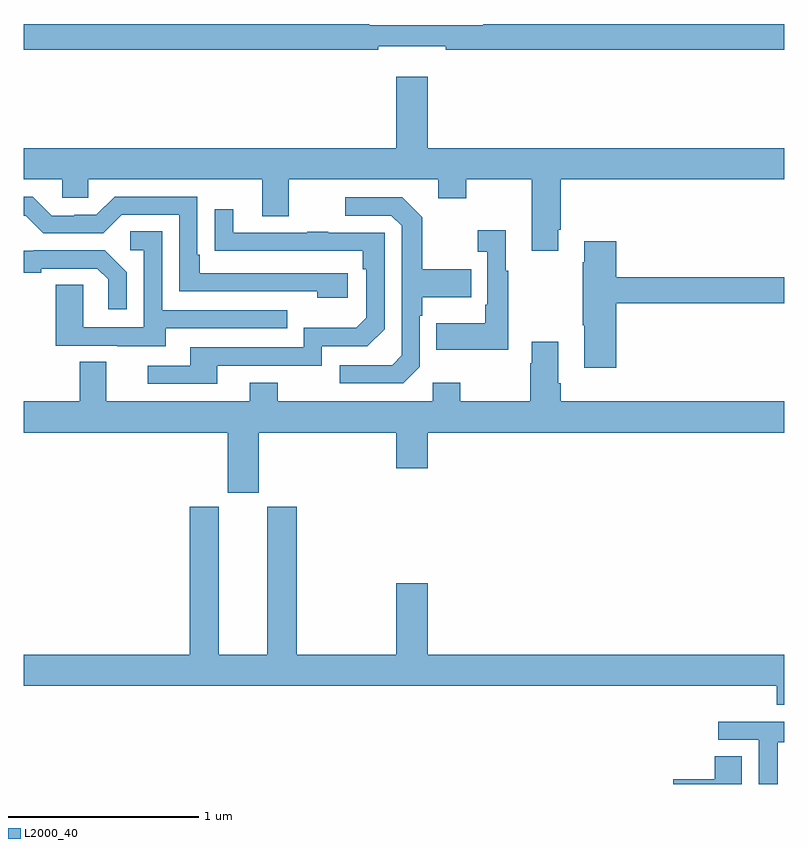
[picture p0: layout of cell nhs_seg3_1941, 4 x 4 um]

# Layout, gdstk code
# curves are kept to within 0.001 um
import gdstk
lib = gdstk.Library(unit=1e-6, precision=1e-09)
def P(c, l, *ps):  # polygons
    for p in ps: c.add(gdstk.Polygon(p, *l))
L2000_40 = (2000, 40)

nhs_seg3_1941 = lib.new_cell('nhs_seg3_1941')
P(nhs_seg3_1941, L2000_40, [(212.864,704.279),(213.22,704.279),(213.22,704.26),(215,704.26),(215,704.396),(213.418,704.396),(213.418,704.389),(212.818,704.389),(212.818,704.396),(211,704.396),(211,704.26),(212.864,704.26)],
  [(211,703.58),(211.203,703.58),(211.203,703.482),(211.341,703.482),(211.341,703.58),(212.255,703.58),(212.255,703.386),(212.395,703.386),(212.395,703.58),(213.179,703.58),(213.179,703.481),(213.327,703.481),(213.327,703.58),(213.671,703.58),(213.671,703.203),(213.811,703.203),(213.811,703.315),(213.824,703.315),(213.824,703.58),(215,703.58),(215,703.744),(213.124,703.744),(213.124,704.119),(212.96,704.119),(212.96,703.744),(211,703.744)],
  [(212.704,703.086),(211.927,703.086),(211.927,703.183),(211.914,703.183),(211.914,703.488),(211.479,703.488),(211.383,703.392),(211.265,703.392),(211.265,703.389),(211.149,703.389),(211.049,703.489),(211,703.489),(211,703.389),(211.011,703.389),(211.104,703.296),(211.419,703.296),(211.515,703.392),(211.818,703.392),(211.818,702.99),(212.543,702.99),(212.543,702.956),(212.704,702.956)],
  [(213.084,702.594),(213.084,702.863),(213.097,702.863),(213.097,702.959),(213.353,702.959),(213.353,703.107),(213.097,703.107),(213.097,703.379),(212.991,703.485),(212.691,703.485),(212.691,703.389),(212.934,703.389),(212.988,703.335),(212.988,702.654),(212.937,702.603),(212.661,702.603),(212.661,702.507),(212.997,702.507)],
  [(212.017,702.6),(212.568,702.6),(212.568,702.702),(212.808,702.702),(212.898,702.792),(212.898,703.299),(212.603,703.299),(212.603,703.304),(212.491,703.304),(212.491,703.299),(212.101,703.299),(212.101,703.423),(212.005,703.423),(212.005,703.204),(212.782,703.203),(212.782,703.106),(212.802,703.106),(212.802,702.852),(212.749,702.799),(212.472,702.799),(212.472,702.696),(211.877,702.696),(211.877,702.6),(211.653,702.6),(211.653,702.504),(212.017,702.504)],
  [(213.547,703.099),(213.535,703.099),(213.535,703.312),(213.387,703.312),(213.387,703.199),(213.438,703.199),(213.438,702.919),(213.426,702.919),(213.426,702.823),(213.169,702.823),(213.169,702.683),(213.547,702.683)],
  [(211.747,702.795),(212.387,702.795),(212.387,702.891),(211.728,702.891),(211.728,703.307),(211.56,703.307),(211.56,703.206),(211.632,703.206),(211.632,702.801),(211.314,702.801),(211.314,703.025),(211.169,703.025),(211.169,702.705),(211.493,702.705),(211.493,702.701),(211.747,702.701)],
  [(214.115,702.928),(215,702.928),(215,703.064),(214.115,703.064),(214.115,703.255),(213.947,703.255),(213.947,703.142),(213.94,703.142),(213.94,702.811),(213.947,702.811),(213.947,702.588),(214.115,702.588)],
  [(211.542,703.09),(211.426,703.206),(211.054,703.206),(211.054,703.203),(211,703.203),(211,703.088),(211.093,703.088),(211.093,703.11),(211.388,703.11),(211.445,703.053),(211.445,702.897),(211.542,702.897)],
  [(212.236,702.248),(212.96,702.248),(212.96,702.06),(213.124,702.06),(213.124,702.248),(215,702.248),(215,702.412),(213.824,702.412),(213.824,702.508),(213.811,702.508),(213.811,702.724),(213.671,702.724),(213.671,702.611),(213.664,702.611),(213.664,702.412),(213.297,702.412),(213.297,702.511),(213.15,702.511),(213.15,702.412),(212.337,702.412),(212.337,702.511),(212.189,702.511),(212.189,702.412),(211.435,702.412),(211.435,702.62),(211.295,702.62),(211.295,702.412),(211,702.412),(211,702.248),(212.072,702.248),(212.072,701.931),(212.236,701.931)],
  [(215,701.08),(213.124,701.08),(213.124,701.455),(212.96,701.455),(212.96,701.08),(212.435,701.08),(212.435,701.859),(212.282,701.859),(212.282,701.08),(212.026,701.08),(212.026,701.859),(211.874,701.859),(211.874,701.08),(211,701.08),(211,700.916),(214.961,700.916),(214.961,700.817),(215,700.817)],
  [(214.965,700.62),(215,700.62),(215,700.728),(214.653,700.728),(214.653,700.632),(214.866,700.632),(214.866,700.4),(214.965,700.4)],
  [(214.777,700.547),(214.634,700.547),(214.634,700.424),(214.416,700.424),(214.416,700.4),(214.777,700.4)])

lib.write_gds('nhs_seg3_1941.gds')
